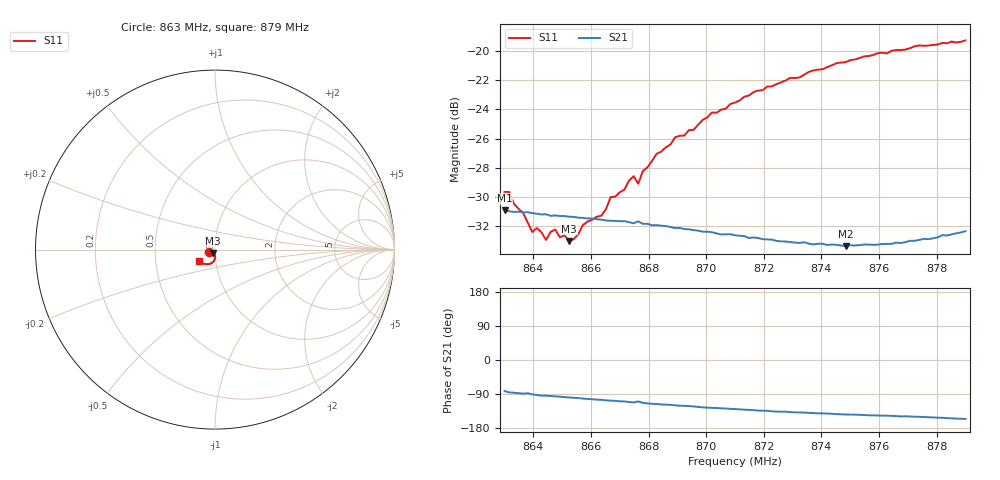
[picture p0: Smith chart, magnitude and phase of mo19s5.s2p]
# HZ S RI R 50
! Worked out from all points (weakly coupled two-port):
!   101 points, 863 MHz to 879 MHz, reference 50 ohm
!   highest |S21| = -30.93 dB at 863 MHz (marker M1); lowest = -33.4 dB at 874.84 MHz (marker M2)
!   lowest |S11| = -33.1 dB at 865.24 MHz (marker M3), VSWR 1.05, Z = 48.9 - j1.89 ohm
!   |S11| at or under -10 dB: start of sweep to end of sweep
!   S12 and S22 are empty: the file has one direction only
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8.63e8  -0.0308 -0.0113  0.00395 -0.0281  0 0  0 0
8.6316e8  -0.0299 -0.0135  0.00218 -0.0281  0 0  0 0
8.6396e8  -0.0197 -0.0134  -0.00032 -0.0277  0 0  0 0
8.6412e8  -0.0197 -0.0147  -0.00119 -0.0276  0 0  0 0
8.6444e8  -0.0163 -0.0154  -0.00198 -0.0274  0 0  0 0
8.6476e8  -0.0161 -0.0183  -0.0028 -0.0271  0 0  0 0
8.6492e8  -0.0143 -0.0179  -0.00319 -0.0269  0 0  0 0
8.6524e8  -0.011 -0.0193  -0.00415 -0.0266  0 0  0 0
8.6572e8  -0.00805 -0.0239  -0.00547 -0.0261  0 0  0 0
8.6636e8  -0.0051 -0.0267  -0.0069 -0.0254  0 0  0 0
8.6668e8  -0.00348 -0.0313  -0.00771 -0.0249  0 0  0 0
8.6716e8  -0.000552 -0.0334  -0.00861 -0.0246  0 0  0 0
8.6748e8  -0.000652 -0.0372  -0.00959 -0.0237  0 0  0 0
8.6764e8  0.000118 -0.035  -0.00862 -0.0245  0 0  0 0
8.678e8  0.00017 -0.0387  -0.01 -0.0234  0 0  0 0
8.6844e8  0.000319 -0.0452  -0.0115 -0.0223  0 0  0 0
8.702e8  -0.00429 -0.0615  -0.0141 -0.0192  0 0  0 0
8.71e8  -0.00906 -0.066  -0.0148 -0.018  0 0  0 0
8.7372e8  -0.0301 -0.0806  -0.0166 -0.0139  0 0  0 0
8.7484e8  -0.0415 -0.0818  -0.0172 -0.0126  0 0  0 0
8.7644e8  -0.0617 -0.0794  -0.0183 -0.0117  0 0  0 0
8.79e8  -0.0888 -0.0633  -0.0219 -0.00992  0 0  0 0
